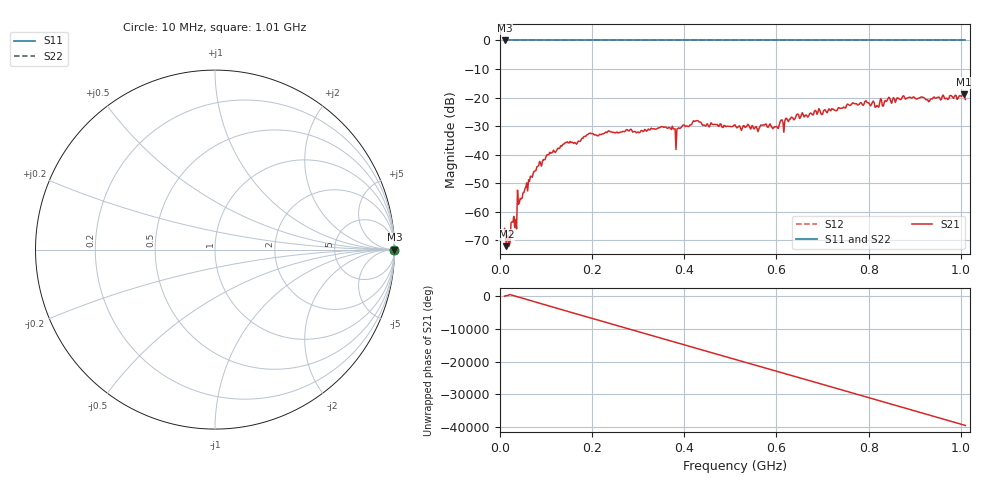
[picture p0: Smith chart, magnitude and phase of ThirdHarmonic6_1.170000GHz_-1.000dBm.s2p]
! 8/16/2025 11:50:24 AM
! C:\ANRITSUVNA\TEMP\TEMP.S2P
! CHANNEL.1
! TR.MEASUREMENT
! RAW.DATA
! RF.CORRECTION.OFF
! AVERAGING.OFF
! IF.BANDWIDTH: 5KHZ
! SWEEPTYPE:  FREQ.SWEEP(Linear)
! Reference Plane Port Info
! PORT:  PORT1  PORT2
! DISTANCE:  0  m  0  m
! TIME:  0  s  0  s
! PHASE.OFFSET:  0  deg.  0  deg.
! LOSS:  0  dB  0  dB
! REF.LOSS:  0  dB  0  dB
! REF.FREQ:  0  Hz  0  Hz
! Power Info
! POWER:  -20  dBm  -20  dBm
! EFF.POWER:  -20  dBm  -20  dBm
! SOURCE.ATTEN:  0  dB  0  dB
! TEST.ATTEN:  0  dB  0  dB
# GHZ S RI R 50.0
! FREQ.GHZ  S11RE  S11IM  S21RE  S21IM  S12RE  S12IM  S22RE  S22IM
!; PortSelection: Port_12
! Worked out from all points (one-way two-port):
!   501 points, 10 MHz to 1.01 GHz, reference 50 ohm
!   highest |S21| = -18.83 dB at 1.006 GHz (marker M1); lowest = -72.0 dB at 14 MHz (marker M2)
!   lowest |S11| = 0.0 dB at 10 MHz (marker M3)
!   |S11| at or under -10 dB: nowhere
!   |S22| runs from 0.0 to 0.0 dB; largest |S21 - S12| = 1.1
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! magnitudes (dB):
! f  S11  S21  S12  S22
! 10 MHz  0.0  -65.8  0.0  0.0
! 14 MHz  0.0  -72.0  0.0  0.0
! 18 MHz  0.0  -68.4  0.0  0.0
! 28 MHz  0.0  -63.6  0.0  0.0
! 32 MHz  0.0  -65.5  0.0  0.0
! 42 MHz  0.0  -56.8  0.0  0.0
! 84 MHz  0.0  -43.8  0.0  0.0
! 142 MHz  0.0  -35.8  0.0  0.0
! 178 MHz  0.0  -34.2  0.0  0.0
! 196 MHz  0.0  -32.5  0.0  0.0
! 344 MHz  0.0  -30.6  0.0  0.0
! 386 MHz  0.0  -30.8  0.0  0.0
! 424 MHz  0.0  -28.3  0.0  0.0
! 510 MHz  0.0  -29.5  0.0  0.0
! 600 MHz  0.0  -30.1  0.0  0.0
! 644 MHz  0.0  -25.9  0.0  0.0
! 678 MHz  0.0  -26.1  0.0  0.0
! 796 MHz  0.0  -21.6  0.0  0.0
! 818 MHz  0.0  -22.8  0.0  0.0
! 844 MHz  0.0  -19.9  0.0  0.0
! 1.006 GHz  0.0  -18.8  0.0  0.0
! 1.01 GHz  0.0  -20.7  0.0  0.0
